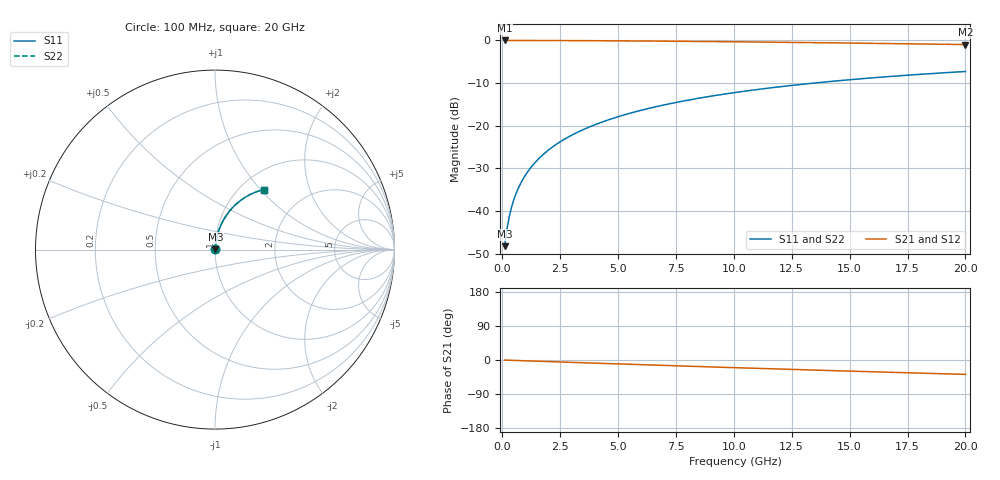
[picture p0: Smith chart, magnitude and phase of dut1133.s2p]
! Touchstone file exported from HFSS 2026.1.0
!  File:  C:/ffzhzh/LocalFiles/Ansys_Project_Files/temp_train_TMRDL_1133_1783161809_51560.aedt
!  Generated:  06:44:47 PM Jul  4, 2026
!  Design:  TMRDL
!  Project:  temp_train_TMRDL_1133_1783161809_51560
! Variables:
!  h_bsmrdl = 2um
!  h_ox = 20um
!  h_rdl = 5um
!  h_sub = 80um
!  h_tmrdl = 3.88um
!  h_tsv = 80um
!  h_via = 3um
!  l_bsmrdl = 300um
!  l_sub = 873.77um
!  l_tmrdl = 473.77um
!  m_sub = 200um
!  pitch = 57.88um
!  r_tsv = 6um
!  s_tmrdl = 10um
!  w_bsmrdl = 18um
!  w_sub = 500um
!  w_tmrdl = 16.55um
!  x_tsv_center1 = 482.045um
!  x_tsv_center2 = 800.045um
!  x_tsv_center3 = 1290.365um
!  x_tsv_center4 = 1608.365um
!  x_tsv_center5 = 2098.685um
!  x_tsv_center6 = 2416.685um
# GHz S MA R 50.000000
! Terminal data exported
! Port[1] = TM_RDL1_1_T1
! Port[2] = TM_RDL1_1_T2
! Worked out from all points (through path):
!   200 points, 100 MHz to 20 GHz, reference 50 ohm
!   highest |S21| = -0.02 dB at 100 MHz (marker M1); lowest = -1.0 dB at 20 GHz (marker M2)
!   group delay of S21, straight-line fit = 5.27 ps
!   lowest |S11| = -48.3 dB at 100 MHz (marker M3), VSWR 1.01, Z = 50.3 + j0.272 ohm
!   |S11| at or under -10 dB: start of sweep to 13.49 GHz
!   |S22| runs from -48.3 to -7.3 dB; largest |S21 - S12| = 2.7e-15
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0.1  0.003859 44.5  0.9973 -0.2  0.9973 -0.2  0.003859 44.5
! Gamma 0 0 0 0
! Port Impedance 50 0 50 0
0.2  0.006087 62.0  0.9972 -0.4  0.9972 -0.4  0.006087 62.0
0.3  0.008547 69.5  0.9971 -0.6  0.9971 -0.6  0.008547 69.5
0.4  0.01106 73.5  0.997 -0.9  0.997 -0.9  0.01106 73.5
0.5  0.01359 76.0  0.9969 -1.1  0.9969 -1.1  0.01359 76.0
0.6  0.01612 77.6  0.9968 -1.3  0.9968 -1.3  0.01612 77.6
0.8  0.0212 79.6  0.9966 -1.7  0.9966 -1.7  0.0212 79.6
1.1  0.02886 81.1  0.9963 -2.3  0.9963 -2.3  0.02886 81.1
1.5  0.0391 81.8  0.9958 -3.1  0.9958 -3.1  0.0391 81.8
1.8  0.04677 81.9  0.9954 -3.8  0.9954 -3.8  0.04677 81.9
2.1  0.05444 81.8  0.9949 -4.4  0.9949 -4.4  0.05444 81.8
2.7  0.06972 81.2  0.9937 -5.6  0.9937 -5.6  0.06972 81.2
3.5  0.08994 80.0  0.9918 -7.3  0.9918 -7.3  0.08994 80.0
4.2  0.1074 78.9  0.9897 -8.7  0.9897 -8.7  0.1074 78.9
5  0.1272 77.4  0.9869 -10.3  0.9869 -10.3  0.1272 77.4
5.9  0.149 75.8  0.9834 -12.1  0.9834 -12.1  0.149 75.8
6.8  0.1705 74.1  0.9795 -13.9  0.9795 -13.9  0.1705 74.1
8.3  0.2054 71.3  0.9721 -16.9  0.9721 -16.9  0.2054 71.3
10.1  0.2456 67.9  0.962 -20.4  0.962 -20.4  0.2456 67.9
13.4  0.3144 62.0  0.9409 -26.5  0.9409 -26.5  0.3144 62.0
16.7  0.3764 56.3  0.9174 -32.4  0.9174 -32.4  0.3764 56.3
20  0.4314 50.8  0.8927 -37.9  0.8927 -37.9  0.4315 50.8
